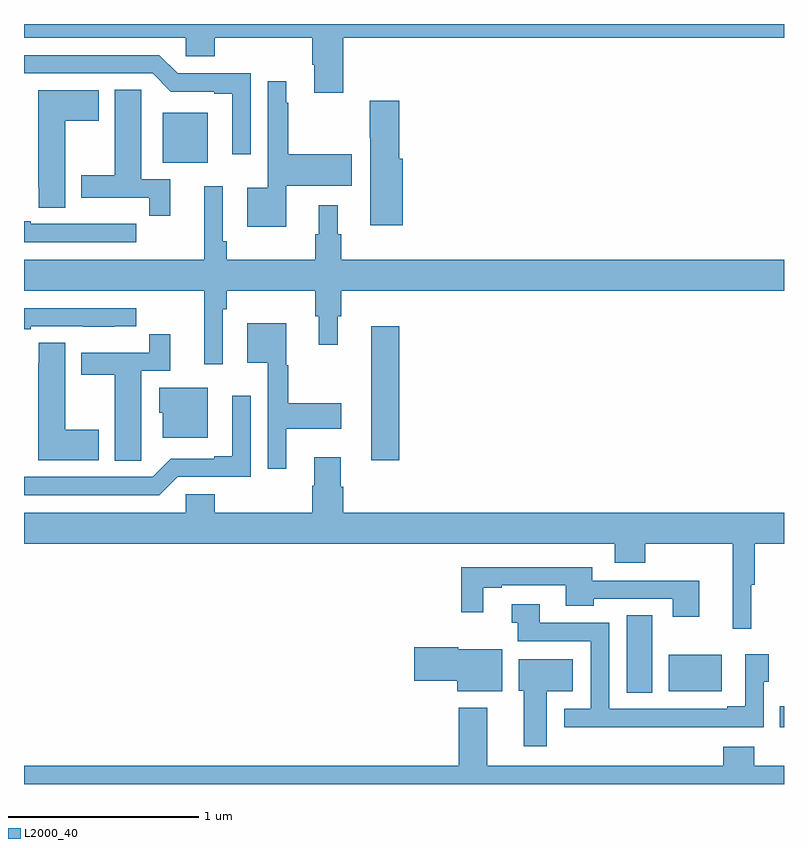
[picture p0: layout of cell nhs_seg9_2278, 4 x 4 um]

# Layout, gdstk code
import gdstk
lib = gdstk.Library(unit=1e-6, precision=1e-09)
def R(c, l, rs):  # rectangles x0, y0, x1, y1
    for r in rs: c.add(gdstk.rectangle(r[:2], r[2:], *l))
def P(c, l, *ps):  # polygons
    for p in ps: c.add(gdstk.Polygon(p, *l))
L2000_40 = (2000, 40)

nhs_seg9_2278 = lib.new_cell('nhs_seg9_2278')
R(nhs_seg9_2278, L2000_40, [(244.978,1184.798,245,1184.908), (244.172,1184.98,244.306,1185.389), (244.394,1184.987,244.672,1185.181), (242.828,1186.203,242.975,1186.909), (241.73,1187.771,241.966,1188.034)])
P(nhs_seg9_2278, L2000_40, [(242.681,1188.428),(245,1188.428),(245,1188.5),(241,1188.5),(241,1188.428),(241.851,1188.428),(241.851,1188.33),(242.003,1188.33),(242.003,1188.428),(242.516,1188.428),(242.516,1188.286),(242.528,1188.286),(242.528,1188.138),(242.681,1188.138)],
  [(242.193,1188.24),(241.809,1188.24),(241.713,1188.336),(241,1188.336),(241,1188.24),(241.677,1188.24),(241.773,1188.144),(242,1188.144),(242,1188.132),(242.096,1188.132),(242.096,1187.814),(242.193,1187.814)],
  [(242.38,1187.648),(242.725,1187.648),(242.725,1187.814),(242.392,1187.814),(242.392,1188.086),(242.38,1188.086),(242.38,1188.199),(242.283,1188.199),(242.283,1187.638),(242.174,1187.638),(242.174,1187.432),(242.38,1187.432)],
  [(241.769,1187.682),(241.618,1187.682),(241.618,1188.044),(241.617,1188.044),(241.617,1188.155),(241.478,1188.155),(241.478,1187.703),(241.301,1187.703),(241.301,1187.586),(241.66,1187.586),(241.66,1187.49),(241.769,1187.49)],
  [(241.216,1187.992),(241.393,1187.992),(241.393,1188.151),(241.076,1188.151),(241.076,1187.641),(241.077,1187.641),(241.077,1187.533),(241.216,1187.533)],
  [(242.993,1187.79),(242.975,1187.79),(242.975,1188.097),(242.821,1188.097),(242.821,1187.902),(242.822,1187.902),(242.822,1187.442),(242.993,1187.442)],
  [(242.046,1187),(242.066,1187),(242.066,1187.096),(242.533,1187.096),(242.533,1186.962),(242.552,1186.962),(242.552,1186.812),(242.65,1186.812),(242.65,1186.962),(242.669,1186.962),(242.669,1187.096),(245,1187.096),(245,1187.26),(242.669,1187.26),(242.669,1187.394),(242.65,1187.394),(242.65,1187.545),(242.552,1187.545),(242.552,1187.394),(242.533,1187.394),(242.533,1187.26),(242.066,1187.26),(242.066,1187.356),(242.046,1187.356),(242.046,1187.647),(241.949,1187.647),(241.949,1187.26),(241,1187.26),(241,1187.096),(241.949,1187.096),(241.949,1186.71),(242.046,1186.71)],
  [(241.591,1187.448),(241.478,1187.448),(241.478,1187.449),(241.312,1187.449),(241.312,1187.448),(241.036,1187.448),(241.036,1187.463),(241,1187.463),(241,1187.352),(241.591,1187.352)],
  [(241.036,1186.908),(241.312,1186.908),(241.312,1186.907),(241.478,1186.907),(241.478,1186.908),(241.591,1186.908),(241.591,1187.004),(241,1187.004),(241,1186.893),(241.036,1186.893)],
  [(242.38,1186.37),(242.671,1186.37),(242.671,1186.505),(242.392,1186.505),(242.392,1186.704),(242.38,1186.704),(242.38,1186.924),(242.174,1186.924),(242.174,1186.718),(242.283,1186.718),(242.283,1186.158),(242.38,1186.158)],
  [(241.617,1186.312),(241.618,1186.312),(241.618,1186.674),(241.769,1186.674),(241.769,1186.867),(241.66,1186.867),(241.66,1186.77),(241.301,1186.77),(241.301,1186.654),(241.478,1186.654),(241.478,1186.201),(241.617,1186.201)],
  [(241.393,1186.365),(241.216,1186.365),(241.216,1186.823),(241.077,1186.823),(241.077,1186.715),(241.076,1186.715),(241.076,1186.205),(241.393,1186.205)],
  [(241.966,1186.585),(241.712,1186.585),(241.712,1186.455),(241.73,1186.455),(241.73,1186.322),(241.966,1186.322)],
  [(241.809,1186.116),(242.193,1186.116),(242.193,1186.543),(242.096,1186.543),(242.096,1186.225),(242,1186.225),(242,1186.212),(241.773,1186.212),(241.677,1186.116),(241,1186.116),(241,1186.02),(241.713,1186.02)],
  [(244.828,1185.549),(244.847,1185.549),(244.847,1185.764),(245,1185.764),(245,1185.928),(242.681,1185.928),(242.681,1186.065),(242.668,1186.065),(242.668,1186.219),(242.528,1186.219),(242.528,1186.07),(242.516,1186.07),(242.516,1185.928),(242.003,1185.928),(242.003,1186.026),(241.851,1186.026),(241.851,1185.928),(241,1185.928),(241,1185.764),(244.109,1185.764),(244.109,1185.665),(244.269,1185.665),(244.269,1185.764),(244.73,1185.764),(244.73,1185.318),(244.828,1185.318)],
  [(244.555,1185.57),(243.991,1185.57),(243.991,1185.642),(243.301,1185.642),(243.301,1185.405),(243.418,1185.405),(243.418,1185.534),(243.514,1185.534),(243.514,1185.546),(243.851,1185.546),(243.851,1185.437),(243.999,1185.437),(243.999,1185.474),(244.415,1185.474),(244.415,1185.381),(244.555,1185.381)],
  [(244.595,1184.799),(244.893,1184.799),(244.893,1185.039),(244.921,1185.039),(244.921,1185.184),(244.797,1185.184),(244.797,1184.908),(244.7,1184.908),(244.7,1184.895),(244.08,1184.895),(244.08,1185.348),(243.715,1185.348),(243.715,1185.447),(243.567,1185.447),(243.567,1185.35),(243.598,1185.35),(243.598,1185.252),(243.984,1185.252),(243.984,1184.895),(243.843,1184.895),(243.843,1184.798),(244.595,1184.798)],
  [(243.517,1185.208),(243.285,1185.208),(243.285,1185.221),(243.054,1185.221),(243.054,1185.043),(243.281,1185.043),(243.281,1184.987),(243.517,1184.987)],
  [(243.751,1184.987),(243.889,1184.987),(243.889,1185.157),(243.605,1185.157),(243.605,1184.991),(243.629,1184.991),(243.629,1184.7),(243.751,1184.7)],
  [(245,1184.596),(244.844,1184.596),(244.844,1184.695),(244.679,1184.695),(244.679,1184.596),(243.439,1184.596),(243.439,1184.902),(243.287,1184.902),(243.287,1184.596),(241,1184.596),(241,1184.5),(245,1184.5)])

lib.write_gds('nhs_seg9_2278.gds')
